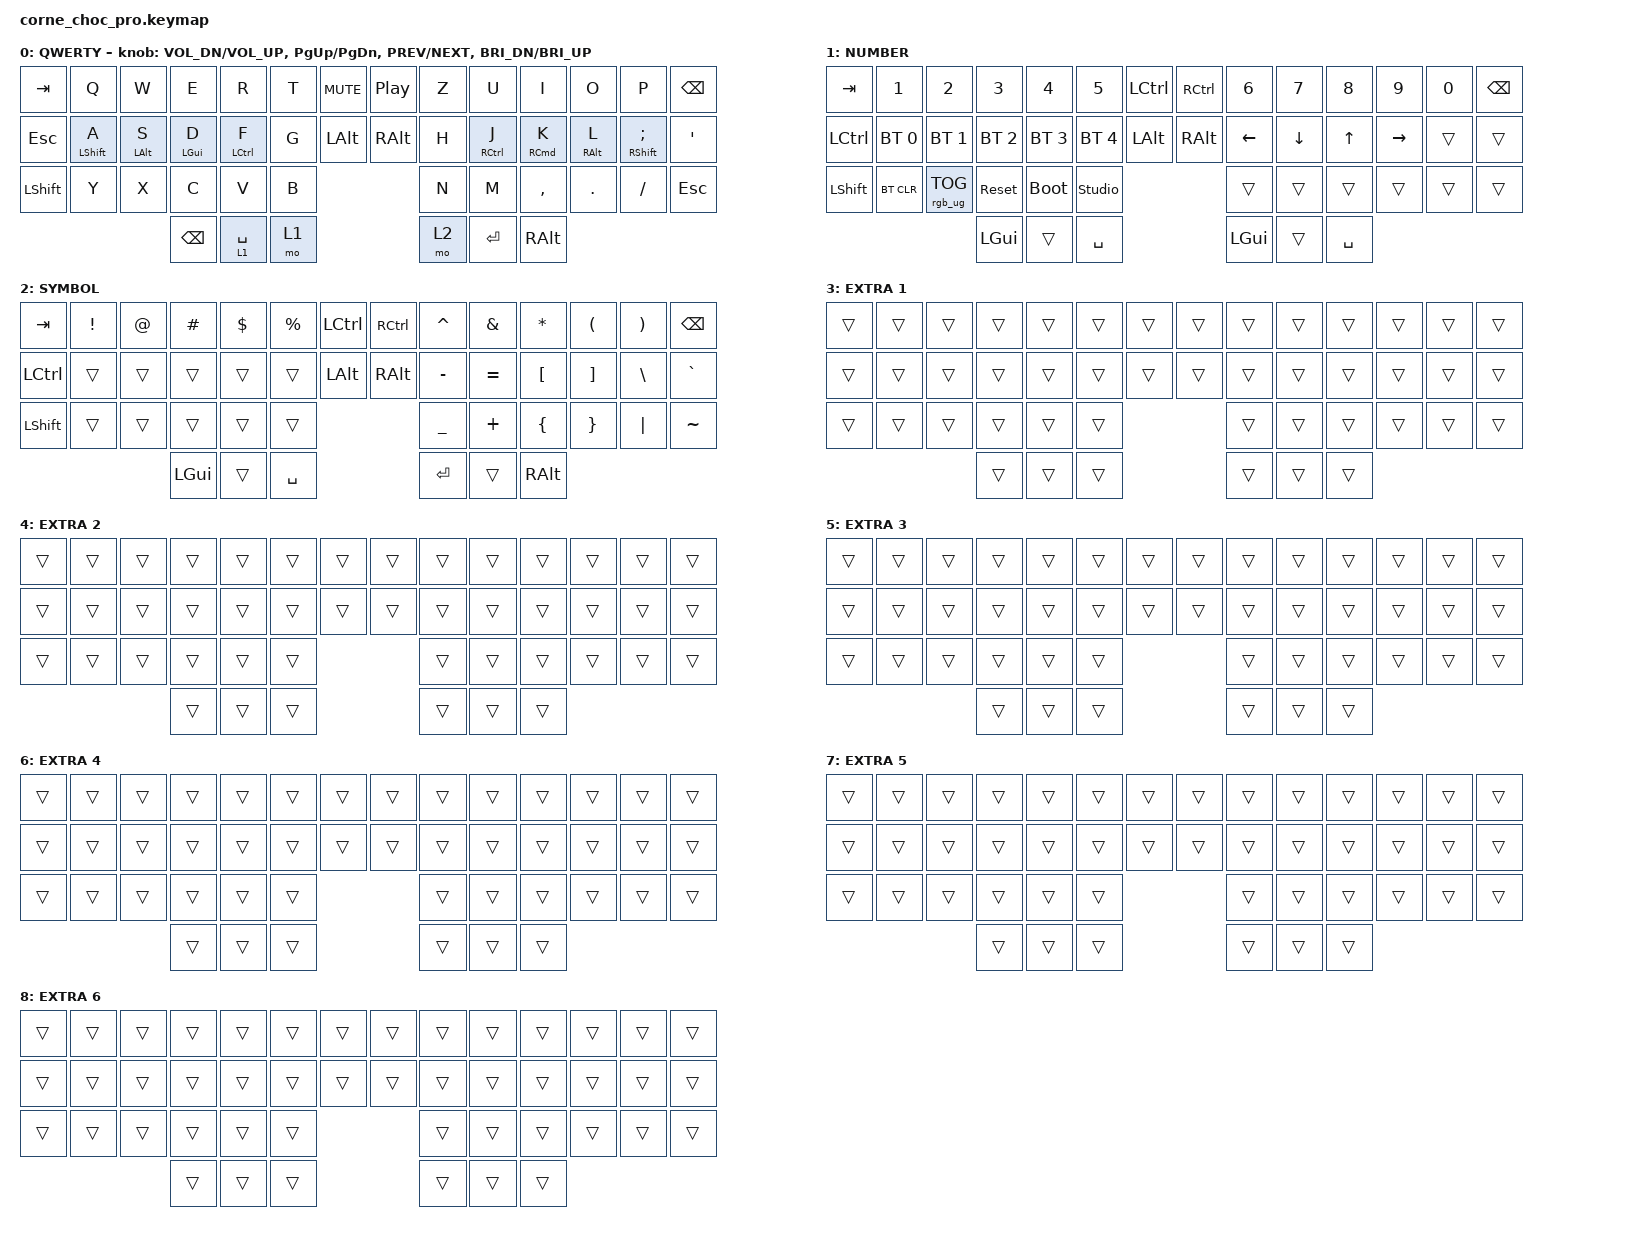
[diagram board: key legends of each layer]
/*
 * Copyright (c) 2020 The ZMK Contributors
 *
 * SPDX-License-Identifier: MIT
 */

#include <behaviors.dtsi>
#include <dt-bindings/zmk/bt.h>
#include <dt-bindings/zmk/keys.h>
#include <dt-bindings/zmk/rgb.h>

/ {
    chosen { zmk,physical-layout = &default_layout; };
};

/ {
    behaviors {
        HMShiftR: HMShiftR {
            compatible = "zmk,behavior-hold-tap";
            label = "HMSHIFTR";
            bindings = <&kp>, <&kp>;

            #binding-cells = <2>;
            tapping-term-ms = <200>;
            hold-while-undecided;
            hold-trigger-key-positions = <0 1 14 15 29 28 2 3 4 5 20 6 16 17 18 19 30 31 32 40 41 33 42>;
            hold-trigger-on-release;
        };

        HMShiftL: HMShiftL {
            compatible = "zmk,behavior-hold-tap";
            label = "HMSHIFTL";
            bindings = <&kp>, <&kp>;

            #binding-cells = <2>;
            tapping-term-ms = <200>;
            hold-while-undecided;
            hold-trigger-on-release;
            hold-trigger-key-positions = <43 44 21 34 35 7 7 22 9 8 23 10 24 36 11 25 37 26 38 12 13 39 45 27>;
        };

        HMR: HMR {
            compatible = "zmk,behavior-hold-tap";
            label = "HMR";
            bindings = <&kp>, <&kp>;

            #binding-cells = <2>;
            tapping-term-ms = <200>;
            hold-while-undecided;
            hold-trigger-key-positions = <0 1 14 15 29 28 2 3 4 5 20 6 16 17 18 19 30 31 32 40 41 33 42>;
            hold-trigger-on-release;
            flavor = "tap-preferred";
        };

        HML: HML {
            compatible = "zmk,behavior-hold-tap";
            label = "HML";
            bindings = <&kp>, <&kp>;

            #binding-cells = <2>;
            tapping-term-ms = <200>;
            hold-while-undecided;
            hold-trigger-on-release;
            hold-trigger-key-positions = <43 44 21 34 35 7 7 22 9 8 23 10 24 36 11 25 37 26 38 12 13 39 45 27>;
            flavor = "tap-preferred";
        };
    };

    keymap {
        compatible = "zmk,keymap";

        default_layer {
            display-name = "QWERTY";

            // --------------------------------------------------------------------------------
            // |  TAB |  Q  |  W  |  E  |  R  |  T  |  MUTE |  PP   |  Y  |  U   |  I  |  O  |  P  | BSPC |
            // | CTRL |  A  |  S  |  D  |  F  |  G  |  LALT |  RALT |  H  |  J   |  K  |  L  |  ;  |  '   |
            // | SHFT |  Z  |  X  |  C  |  V  |  B  |               |  N  |  M   |  ,  |  .  |  /  | ESC  |
            //                    | GUI | LWR | SPC |               | ENT | RSE  | ALT |

            bindings = <
&kp TAB     &kp Q                   &kp W            &kp E          &kp R         &kp T  &kp C_MUTE  &kp C_PP  &kp Z  &kp U         &kp I                 &kp O             &kp P                       &kp BSPC
&kp ESCAPE  &HMShiftL LEFT_SHIFT A  &HML LEFT_ALT S  &HML LGUI D    &HML LCTRL F  &kp G  &kp LALT    &kp RALT  &kp H  &HMR RCTRL J  &HMR RIGHT_COMMAND K  &HMR RIGHT_ALT L  &HMShiftR RIGHT_SHIFT SEMI  &kp SQT
&kp LSHFT   &kp Y                   &kp X            &kp C          &kp V         &kp B                        &kp N  &kp M         &kp COMMA             &kp DOT           &kp FSLH                    &kp ESC
                                                     &kp BACKSPACE  &lt 1 SPACE   &mo 1                        &mo 2  &kp ENTER     &kp RALT
            >;

            sensor-bindings = <&inc_dec_kp C_VOL_DN C_VOL_UP &inc_dec_kp PG_UP PG_DN &inc_dec_kp C_PREV C_NEXT &inc_dec_kp C_BRI_DN C_BRI_UP>;
        };

        lower_layer {
            display-name = "NUMBER";

            // -----------------------------------------------------------------------------------------
            // |  TAB |  1  |  2  |  3  |  4  |  5    |  LCTRL | RCTRL |  6  |  7  |  8  |  9  |  0  | BSPC |
            // | CTRL | BT1 | BT2 | BT3 | BT4 | BT5   |  LALT  | RALT  | LFT | DWN |  UP | RGT |     |      |
            // | SHFT | BTCR| RGB | RST | BOOT| Unlock|        |       |     |     |     |     |     |      |
            //                    | GUI |     | SPC   |        | ENT   |     | ALT |

            bindings = <
&kp TAB    &kp N1        &kp N2           &kp N3        &kp N4        &kp N5          &kp LCTRL  &kp RCTRL  &kp N6    &kp N7    &kp N8     &kp N9     &kp N0  &kp BSPC
&kp LCTRL  &bt BT_SEL 0  &bt BT_SEL 1     &bt BT_SEL 2  &bt BT_SEL 3  &bt BT_SEL 4    &kp LALT   &kp RALT   &kp LEFT  &kp DOWN  &kp UP     &kp RIGHT  &trans  &trans
&kp LSHFT  &bt BT_CLR    &rgb_ug RGB_TOG  &sys_reset    &bootloader   &studio_unlock                        &trans    &trans    &trans     &trans     &trans  &trans
                                          &kp LGUI      &trans        &kp SPACE                             &kp LGUI  &trans    &kp SPACE
            >;
        };

        raise_layer {
            display-name = "SYMBOL";

            // -----------------------------------------------------------------------------------------
            // |  TAB |  !  |  @  |  #  |  $  |  %  | LCTRL | RCTRL |  ^  |  &  |  *  |  (  |  )  | BSPC |
            // | CTRL |     |     |     |     |     |  LALT | RALT  |  -  |  =  |  [  |  ]  |  \  |  `   |
            // | SHFT |     |     |     |     |     |               |  _  |  +  |  {  |  }  | "|" |  ~   |
            //                    | GUI |     | SPC |               | ENT |     | ALT |

            bindings = <
&kp TAB    &kp EXCL  &kp AT  &kp HASH  &kp DLLR  &kp PRCNT  &kp LCTRL  &kp RCTRL  &kp CARET  &kp AMPS   &kp ASTRK  &kp LPAR  &kp RPAR  &kp BSPC
&kp LCTRL  &trans    &trans  &trans    &trans    &trans     &kp LALT   &kp RALT   &kp MINUS  &kp EQUAL  &kp LBKT   &kp RBKT  &kp BSLH  &kp GRAVE
&kp LSHFT  &trans    &trans  &trans    &trans    &trans                           &kp UNDER  &kp PLUS   &kp LBRC   &kp RBRC  &kp PIPE  &kp TILDE
                             &kp LGUI  &trans    &kp SPACE                        &kp RET    &trans     &kp RALT
            >;
        };

        extra_layer_1 {
            display-name = "EXTRA 1";
            bindings = <
&trans  &trans  &trans  &trans  &trans  &trans  &trans  &trans  &trans  &trans  &trans  &trans  &trans  &trans
&trans  &trans  &trans  &trans  &trans  &trans  &trans  &trans  &trans  &trans  &trans  &trans  &trans  &trans
&trans  &trans  &trans  &trans  &trans  &trans                  &trans  &trans  &trans  &trans  &trans  &trans
                        &trans  &trans  &trans                  &trans  &trans  &trans
            >;
        };

        extra_layer_2 {
            display-name = "EXTRA 2";
            bindings = <
&trans  &trans  &trans  &trans  &trans  &trans  &trans  &trans  &trans  &trans  &trans  &trans  &trans  &trans
&trans  &trans  &trans  &trans  &trans  &trans  &trans  &trans  &trans  &trans  &trans  &trans  &trans  &trans
&trans  &trans  &trans  &trans  &trans  &trans                  &trans  &trans  &trans  &trans  &trans  &trans
                        &trans  &trans  &trans                  &trans  &trans  &trans
            >;
        };

        extra_layer_3 {
            display-name = "EXTRA 3";
            bindings = <
&trans  &trans  &trans  &trans  &trans  &trans  &trans  &trans  &trans  &trans  &trans  &trans  &trans  &trans
&trans  &trans  &trans  &trans  &trans  &trans  &trans  &trans  &trans  &trans  &trans  &trans  &trans  &trans
&trans  &trans  &trans  &trans  &trans  &trans                  &trans  &trans  &trans  &trans  &trans  &trans
                        &trans  &trans  &trans                  &trans  &trans  &trans
            >;
        };

        extra_layer_4 {
            display-name = "EXTRA 4";
            bindings = <
&trans  &trans  &trans  &trans  &trans  &trans  &trans  &trans  &trans  &trans  &trans  &trans  &trans  &trans
&trans  &trans  &trans  &trans  &trans  &trans  &trans  &trans  &trans  &trans  &trans  &trans  &trans  &trans
&trans  &trans  &trans  &trans  &trans  &trans                  &trans  &trans  &trans  &trans  &trans  &trans
                        &trans  &trans  &trans                  &trans  &trans  &trans
            >;
        };

        extra_layer_5 {
            display-name = "EXTRA 5";
            bindings = <
&trans  &trans  &trans  &trans  &trans  &trans  &trans  &trans  &trans  &trans  &trans  &trans  &trans  &trans
&trans  &trans  &trans  &trans  &trans  &trans  &trans  &trans  &trans  &trans  &trans  &trans  &trans  &trans
&trans  &trans  &trans  &trans  &trans  &trans                  &trans  &trans  &trans  &trans  &trans  &trans
                        &trans  &trans  &trans                  &trans  &trans  &trans
            >;
        };

        extra_layer_6 {
            display-name = "EXTRA 6";
            bindings = <
&trans  &trans  &trans  &trans  &trans  &trans  &trans  &trans  &trans  &trans  &trans  &trans  &trans  &trans
&trans  &trans  &trans  &trans  &trans  &trans  &trans  &trans  &trans  &trans  &trans  &trans  &trans  &trans
&trans  &trans  &trans  &trans  &trans  &trans                  &trans  &trans  &trans  &trans  &trans  &trans
                        &trans  &trans  &trans                  &trans  &trans  &trans
            >;
        };
    };
};
